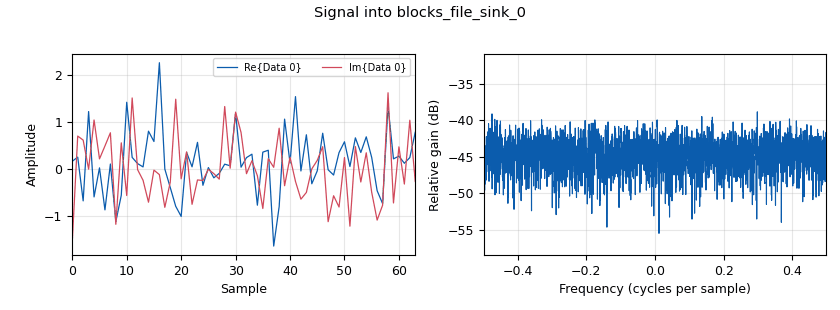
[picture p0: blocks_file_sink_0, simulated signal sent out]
<?xml version='1.0' encoding='utf-8'?>
<?grc format='1' created='3.7.8'?>
<flow_graph>
<block>
<key>blocks_head</key>
<param><key>id</key><value>blocks_head_0</value></param>
<param><key>type</key><value>complex</value></param>
<param><key>num_items</key><value>int(samp_rate*10)</value></param>
</block>
<block>
<key>variable</key>
<param><key>id</key><value>samp_rate</value></param>
<param><key>value</key><value>25e6</value></param>
</block>
<block>
<key>analog_fastnoise_source_x</key>
<param><key>id</key><value>analog_fastnoise_source_x_0</value></param>
<param><key>type</key><value>complex</value></param>
<param><key>noise_type</key><value>analog.GR_GAUSSIAN</value></param>
<param><key>amp</key><value>1</value></param>
<param><key>seed</key><value>0</value></param>
<param><key>samples</key><value>8192</value></param>
</block>
<block>
<key>blocks_file_sink</key>
<param><key>id</key><value>blocks_file_sink_0</value></param>
<param><key>file</key><value>test.dat</value></param>
<param><key>type</key><value>complex</value></param>
</block>
<block>
<key>options</key>
<param><key>id</key><value>test_data_gen</value></param>
<param><key>generate_options</key><value>no_gui</value></param>
<param><key>category</key><value>Custom</value></param>
<param><key>run_options</key><value>run</value></param>
</block>
<connection><source_block_id>blocks_head_0</source_block_id><sink_block_id>blocks_file_sink_0</sink_block_id><source_key>0</source_key><sink_key>0</sink_key></connection>
<connection><source_block_id>analog_fastnoise_source_x_0</source_block_id><sink_block_id>blocks_head_0</sink_block_id><source_key>0</source_key><sink_key>0</sink_key></connection>
</flow_graph>
